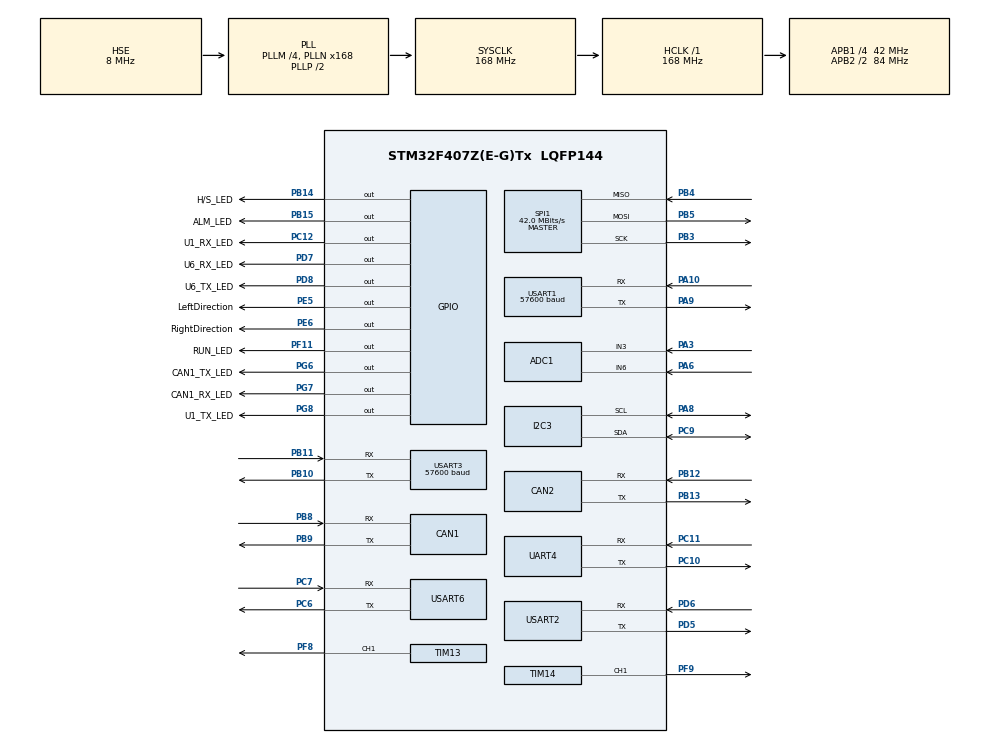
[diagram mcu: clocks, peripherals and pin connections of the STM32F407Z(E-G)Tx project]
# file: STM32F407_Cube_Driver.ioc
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ADC1.Channel-0\#ChannelRegularConversion=ADC_CHANNEL_3
ADC1.NbrOfConversionFlag=1
ADC1.Rank-0\#ChannelRegularConversion=1
ADC1.SamplingTime-0\#ChannelRegularConversion=ADC_SAMPLETIME_3CYCLES
ADC1.master=1
CAN1.BS1=CAN_BS1_1TQ
CAN1.BS2=CAN_BS2_1TQ
CAN1.CalculateTimeBit=1142
CAN1.CalculateTimeQuantum=380.95238095238096
CAN2.BS1=CAN_BS1_1TQ
CAN2.BS2=CAN_BS2_1TQ
CAN2.CalculateTimeBit=1142
CAN2.CalculateTimeQuantum=380.95238095238096
FREERTOS.Tasks01=defaultTask,0,128,StartDefaultTask,Default,NULL,Dynamic,NULL,NULL;WheelDriverTask,0,128,StartWheelDriverTask,Default,NULL,Dynamic,NULL,NULL;LED_Blink_Task,-3,128,StartLED_Blink_Task,Default,NULL,Dynamic,NULL,NULL;Commuicate_Task,0,128,StartCommuicate_Task,Default,NULL,Dynamic,NULL,NULL
Mcu.Family=STM32F4
Mcu.Name=STM32F407Z(E-G)Tx
Mcu.Package=LQFP144
NVIC.PriorityGroup=NVIC_PRIORITYGROUP_4
NVIC.USART1_IRQn=true\:5\:0\:false\:false\:true\:true
NVIC.USART3_IRQn=true\:5\:0\:false\:false\:true\:true
PA10.Mode=Multiprocessor_communication
PA10.Signal=USART1_RX
PA11.Signal=USB_OTG_FS_DM
PA12.Signal=USB_OTG_FS_DP
PA13.Signal=SYS_JTMS-SWDIO
PA14.Signal=SYS_JTCK-SWCLK
PA15.Signal=SPI1_NSS
PA3.Signal=ADCx_IN3
PA6.Signal=ADCx_IN6
PA8.Mode=SMBus-two-wire-Interface
PA8.Signal=I2C3_SCL
PA9.Mode=Multiprocessor_communication
PA9.Signal=USART1_TX
PB10.Mode=Multiprocessor_communication
PB10.Signal=USART3_TX
PB11.Mode=Multiprocessor_communication
PB11.Signal=USART3_RX
PB12.Mode=Slave
PB12.Signal=CAN2_RX
PB13.Mode=Slave
PB13.Signal=CAN2_TX
PB14.GPIO_Label=H/S_LED
PB14.PinState=GPIO_PIN_SET
PB14.Signal=GPIO_Output
PB15.GPIO_Label=ALM_LED
PB15.PinState=GPIO_PIN_SET
PB15.Signal=GPIO_Output
PB3.Mode=Full_Duplex_Master
PB3.Signal=SPI1_SCK
PB4.Mode=Full_Duplex_Master
PB4.Signal=SPI1_MISO
PB5.Mode=Full_Duplex_Master
PB5.Signal=SPI1_MOSI
PB8.Mode=Master
PB8.Signal=CAN1_RX
PB9.Mode=Master
PB9.Signal=CAN1_TX
PC10.Mode=Multiprocessor_communication
PC10.Signal=UART4_TX
PC11.Mode=Multiprocessor_communication
PC11.Signal=UART4_RX
PC12.GPIO_Label=U1_RX_LED
PC12.PinState=GPIO_PIN_SET
PC12.Signal=GPIO_Output
PC6.Mode=Multiprocessor_communication
PC6.Signal=USART6_TX
PC7.Mode=Multiprocessor_communication
PC7.Signal=USART6_RX
PC9.Mode=SMBus-two-wire-Interface
PC9.Signal=I2C3_SDA
PD5.Mode=Multiprocessor_communication
PD5.Signal=USART2_TX
PD6.Mode=Multiprocessor_communication
PD6.Signal=USART2_RX
PD7.GPIO_Label=U6_RX_LED
PD7.PinState=GPIO_PIN_SET
PD7.Signal=GPIO_Output
PD8.GPIO_Label=U6_TX_LED
PD8.PinState=GPIO_PIN_SET
PD8.Signal=GPIO_Output
PE5.GPIO_Label=LeftDirection
PE5.PinState=GPIO_PIN_SET
PE5.Signal=GPIO_Output
PE6.GPIO_Label=RightDirection
PE6.PinState=GPIO_PIN_SET
PE6.Signal=GPIO_Output
PF11.GPIO_Label=RUN_LED
PF11.PinState=GPIO_PIN_SET
PF11.Signal=GPIO_Output
PF8.Signal=S_TIM13_CH1
PF9.Signal=S_TIM14_CH1
PG6.GPIO_Label=CAN1_TX_LED
PG6.PinState=GPIO_PIN_SET
PG6.Signal=GPIO_Output
PG7.GPIO_Label=CAN1_RX_LED
PG7.PinState=GPIO_PIN_SET
PG7.Signal=GPIO_Output
PG8.GPIO_Label=U1_TX_LED
PG8.PinState=GPIO_PIN_SET
PG8.Signal=GPIO_Output
PH0-OSC_IN.Mode=HSE-External-Oscillator
PH0-OSC_IN.Signal=RCC_OSC_IN
PH1-OSC_OUT.Mode=HSE-External-Oscillator
PH1-OSC_OUT.Signal=RCC_OSC_OUT
ProjectManager.HeapSize=0x200
ProjectManager.StackSize=0x400
ProjectManager.TargetToolchain=MDK-ARM V5
RCC.48MHZClocksFreq_Value=84000000
RCC.AHBFreq_Value=168000000
RCC.APB1CLKDivider=RCC_HCLK_DIV4
RCC.APB1Freq_Value=42000000
RCC.APB1TimFreq_Value=84000000
RCC.APB2CLKDivider=RCC_HCLK_DIV2
RCC.APB2Freq_Value=84000000
RCC.APB2TimFreq_Value=168000000
RCC.CortexFreq_Value=168000000
RCC.HCLKFreq_Value=168000000
RCC.HSE_VALUE=8000000
RCC.HSI_VALUE=16000000
RCC.LSE_VALUE=32768
RCC.PLLM=4
RCC.PLLN=168
RCC.PLLSourceVirtual=RCC_PLLSOURCE_HSE
RCC.SYSCLKFreq_VALUE=168000000
RCC.SYSCLKSource=RCC_SYSCLKSOURCE_PLLCLK
RCC.VCOOutputFreq_Value=336000000
SH.ADCx_IN3.0=ADC1_IN3,IN3
SH.ADCx_IN6.0=ADC1_IN6,IN6
SH.S_TIM13_CH1.0=TIM13_CH1,PWM Generation1 CH1
SH.S_TIM14_CH1.0=TIM14_CH1,PWM Generation1 CH1
SPI1.BaudRatePrescaler=SPI_BAUDRATEPRESCALER_2
SPI1.CalculateBaudRate=42.0 MBits/s
SPI1.Direction=SPI_DIRECTION_2LINES
SPI1.Mode=SPI_MODE_MASTER
SPI1.VirtualType=VM_MASTER
TIM13.Channel=TIM_CHANNEL_1
TIM13.Period=20000
TIM13.Prescaler=83
TIM13.Pulse=10000
TIM14.Channel=TIM_CHANNEL_1
TIM14.Period=20000
TIM14.Prescaler=83
TIM14.Pulse=10000
UART4.VirtualMode=Asynchronous
USART1.BaudRate=57600
USART1.VirtualMode=VM_ASYNC
USART2.VirtualMode=VM_ASYNC
USART3.BaudRate=57600
USART3.VirtualMode=VM_ASYNC
USART6.VirtualMode=VM_ASYNC
VP_FREERTOS_VS_ENABLE.Mode=Enabled
VP_TIM13_VS_ClockSourceINT.Mode=Enable_Timer
VP_TIM14_VS_ClockSourceINT.Mode=Enable_Timer
board=STM32F407_Cube_Driver

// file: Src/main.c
/**
  ******************************************************************************
  * File Name          : main.c
  * Description        : Main program body
  ******************************************************************************
  *
  * Copyright (c) 2017 STMicroelectronics International N.V.
  * All rights reserved.
  *
  * Redistribution and use in source and binary forms, with or without
  * modification, are permitted, provided that the following conditions are met:
  *
  * 1. Redistribution of source code must retain the above copyright notice,
  *    this list of conditions and the following disclaimer.
  * 2. Redistributions in binary form must reproduce the above copyright notice,
  *    this list of conditions and the following disclaimer in the documentation
  *    and/or other materials provided with the distribution.
  * 3. Neither the name of STMicroelectronics nor the names of other
  *    contributors to this software may be used to endorse or promote products
  *    derived from this software without specific written permission.
  * 4. This software, including modifications and/or derivative works of this
  *    software, must execute solely and exclusively on microcontroller or
  *    microprocessor devices manufactured by or for STMicroelectronics.
  * 5. Redistribution and use of this software other than as permitted under
  *    this license is void and will automatically terminate your rights under
  *    this license.
  *
  * THIS SOFTWARE IS PROVIDED BY STMICROELECTRONICS AND CONTRIBUTORS "AS IS"
  * AND ANY EXPRESS, IMPLIED OR STATUTORY WARRANTIES, INCLUDING, BUT NOT
  * LIMITED TO, THE IMPLIED WARRANTIES OF MERCHANTABILITY, FITNESS FOR A
  * PARTICULAR PURPOSE AND NON-INFRINGEMENT OF THIRD PARTY INTELLECTUAL PROPERTY
  * RIGHTS ARE DISCLAIMED TO THE FULLEST EXTENT PERMITTED BY LAW. IN NO EVENT
  * SHALL STMICROELECTRONICS OR CONTRIBUTORS BE LIABLE FOR ANY DIRECT, INDIRECT,
  * INCIDENTAL, SPECIAL, EXEMPLARY, OR CONSEQUENTIAL DAMAGES (INCLUDING, BUT NOT
  * LIMITED TO, PROCUREMENT OF SUBSTITUTE GOODS OR SERVICES; LOSS OF USE, DATA,
  * OR PROFITS; OR BUSINESS INTERRUPTION) HOWEVER CAUSED AND ON ANY THEORY OF
  * LIABILITY, WHETHER IN CONTRACT, STRICT LIABILITY, OR TORT (INCLUDING
  * NEGLIGENCE OR OTHERWISE) ARISING IN ANY WAY OUT OF THE USE OF THIS SOFTWARE,
  * EVEN IF ADVISED OF THE POSSIBILITY OF SUCH DAMAGE.
  *
  ******************************************************************************
  */
#include "main.h"
#include "stm32f4xx_hal.h"
#include "cmsis_os.h"
#include "adc.h"
#include "can.h"
#include "i2c.h"
#include "spi.h"
#include "tim.h"
#include "usart.h"
#include "gpio.h"

/* USER CODE BEGIN PV */
/* Private variables ---------------------------------------------------------*/

/* USER CODE END PV */

void SystemClock_Config(void);
void Error_Handler(void);
void MX_FREERTOS_Init(void);

/* USER CODE BEGIN PFP */
/* Private function prototypes -----------------------------------------------*/

/* USER CODE END PFP */

int main(void)
{

  /* MCU Configuration----------------------------------------------------------*/

  /* Reset of all peripherals, Initializes the Flash interface and the Systick. */
  HAL_Init();

  /* Configure the system clock */
  SystemClock_Config();

  /* Initialize all configured peripherals */
  MX_GPIO_Init();
  MX_CAN1_Init();
  MX_CAN2_Init();
  MX_USART1_UART_Init();
  MX_USART3_UART_Init();
  MX_TIM13_Init();
  MX_TIM14_Init();
  MX_SPI1_Init();
  MX_USART2_UART_Init();
  MX_USART6_UART_Init();
  MX_UART4_Init();
  MX_I2C3_Init();
  MX_ADC1_Init();

  /* Call init function for freertos objects (in freertos.c) */
  MX_FREERTOS_Init();

  /* Start scheduler */
  osKernelStart();

  /* We should never get here as control is now taken by the scheduler */

  /* Infinite loop */
  while (1)
  {

  }

}

/** System Clock Configuration
*/
void SystemClock_Config(void)
{

  RCC_OscInitTypeDef RCC_OscInitStruct;
  RCC_ClkInitTypeDef RCC_ClkInitStruct;

    /**Configure the main internal regulator output voltage
    */
  __HAL_RCC_PWR_CLK_ENABLE();

  __HAL_PWR_VOLTAGESCALING_CONFIG(PWR_REGULATOR_VOLTAGE_SCALE1);

    /**Initializes the CPU, AHB and APB busses clocks
    */
  RCC_OscInitStruct.OscillatorType = RCC_OSCILLATORTYPE_HSE;
  RCC_OscInitStruct.HSEState = RCC_HSE_ON;
  RCC_OscInitStruct.PLL.PLLState = RCC_PLL_ON;
  RCC_OscInitStruct.PLL.PLLSource = RCC_PLLSOURCE_HSE;
  RCC_OscInitStruct.PLL.PLLM = 4;
  RCC_OscInitStruct.PLL.PLLN = 168;
  RCC_OscInitStruct.PLL.PLLP = RCC_PLLP_DIV2;
  RCC_OscInitStruct.PLL.PLLQ = 4;
  if (HAL_RCC_OscConfig(&RCC_OscInitStruct) != HAL_OK)
  {
    Error_Handler();
  }

    /**Initializes the CPU, AHB and APB busses clocks
    */
  RCC_ClkInitStruct.ClockType = RCC_CLOCKTYPE_HCLK|RCC_CLOCKTYPE_SYSCLK
                              |RCC_CLOCKTYPE_PCLK1|RCC_CLOCKTYPE_PCLK2;
  RCC_ClkInitStruct.SYSCLKSource = RCC_SYSCLKSOURCE_PLLCLK;
  RCC_ClkInitStruct.AHBCLKDivider = RCC_SYSCLK_DIV1;
  RCC_ClkInitStruct.APB1CLKDivider = RCC_HCLK_DIV4;
  RCC_ClkInitStruct.APB2CLKDivider = RCC_HCLK_DIV2;

  if (HAL_RCC_ClockConfig(&RCC_ClkInitStruct, FLASH_LATENCY_5) != HAL_OK)
  {
    Error_Handler();
  }

    /**Configure the Systick interrupt time
    */
  HAL_SYSTICK_Config(HAL_RCC_GetHCLKFreq()/1000);

    /**Configure the Systick
    */
  HAL_SYSTICK_CLKSourceConfig(SYSTICK_CLKSOURCE_HCLK);

  /* SysTick_IRQn interrupt configuration */
  HAL_NVIC_SetPriority(SysTick_IRQn, 15, 0);
}

void Error_Handler(void)
{
  while(1)
  {
  }
}

/************************ (C) COPYRIGHT STMicroelectronics *****END OF FILE****/

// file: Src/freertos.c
/**
  ******************************************************************************
  * File Name          : freertos.c
  * Description        : Code for freertos applications
  ******************************************************************************
  *
  * Copyright (c) 2017 STMicroelectronics International N.V.
  * All rights reserved.
  *
  * Redistribution and use in source and binary forms, with or without
  * modification, are permitted, provided that the following conditions are met:
  *
  * 1. Redistribution of source code must retain the above copyright notice,
  *    this list of conditions and the following disclaimer.
  * 2. Redistributions in binary form must reproduce the above copyright notice,
  *    this list of conditions and the following disclaimer in the documentation
  *    and/or other materials provided with the distribution.
  * 3. Neither the name of STMicroelectronics nor the names of other
  *    contributors to this software may be used to endorse or promote products
  *    derived from this software without specific written permission.
  * 4. This software, including modifications and/or derivative works of this
  *    software, must execute solely and exclusively on microcontroller or
  *    microprocessor devices manufactured by or for STMicroelectronics.
  * 5. Redistribution and use of this software other than as permitted under
  *    this license is void and will automatically terminate your rights under
  *    this license.
  *
  * THIS SOFTWARE IS PROVIDED BY STMICROELECTRONICS AND CONTRIBUTORS "AS IS"
  * AND ANY EXPRESS, IMPLIED OR STATUTORY WARRANTIES, INCLUDING, BUT NOT
  * LIMITED TO, THE IMPLIED WARRANTIES OF MERCHANTABILITY, FITNESS FOR A
  * PARTICULAR PURPOSE AND NON-INFRINGEMENT OF THIRD PARTY INTELLECTUAL PROPERTY
  * RIGHTS ARE DISCLAIMED TO THE FULLEST EXTENT PERMITTED BY LAW. IN NO EVENT
  * SHALL STMICROELECTRONICS OR CONTRIBUTORS BE LIABLE FOR ANY DIRECT, INDIRECT,
  * INCIDENTAL, SPECIAL, EXEMPLARY, OR CONSEQUENTIAL DAMAGES (INCLUDING, BUT NOT
  * LIMITED TO, PROCUREMENT OF SUBSTITUTE GOODS OR SERVICES; LOSS OF USE, DATA,
  * OR PROFITS; OR BUSINESS INTERRUPTION) HOWEVER CAUSED AND ON ANY THEORY OF
  * LIABILITY, WHETHER IN CONTRACT, STRICT LIABILITY, OR TORT (INCLUDING
  * NEGLIGENCE OR OTHERWISE) ARISING IN ANY WAY OUT OF THE USE OF THIS SOFTWARE,
  * EVEN IF ADVISED OF THE POSSIBILITY OF SUCH DAMAGE.
  *
  ******************************************************************************
  */

#include "FreeRTOS.h"
#include "task.h"
#include "cmsis_os.h"

/* USER CODE BEGIN Includes */
#include "gpio.h"
#include "tim.h"
#include "usart.h"
/* USER CODE END Includes */

osThreadId defaultTaskHandle;
osThreadId WheelDriverTaskHandle;
osThreadId LED_Blink_TaskHandle;
osThreadId Commuicate_TaskHandle;

void StartDefaultTask(void const * argument);
void StartWheelDriverTask(void const * argument);
void StartLED_Blink_Task(void const * argument);
void StartCommuicate_Task(void const * argument);

void MX_FREERTOS_Init(void); /* (MISRA C 2004 rule 8.1) */

/* USER CODE BEGIN FunctionPrototypes */
/*
Upload:

Download:
0xAA 0x55 1 2 3 4 0xFE
1:Left 	Direction 0x00-> +,0x01->-
2:Left 	Speed %
3:Right Direction	0x00-> +,0x01->-
4:Right Speed %
*/
/* USER CODE END FunctionPrototypes */

/* Hook prototypes */

/* Init FreeRTOS */

void MX_FREERTOS_Init(void) {

  /* Create the thread(s) */
  /* definition and creation of defaultTask */
  osThreadDef(defaultTask, StartDefaultTask, osPriorityNormal, 0, 128);
  defaultTaskHandle = osThreadCreate(osThread(defaultTask), NULL);

  /* definition and creation of WheelDriverTask */
  osThreadDef(WheelDriverTask, StartWheelDriverTask, osPriorityNormal, 0, 128);
  WheelDriverTaskHandle = osThreadCreate(osThread(WheelDriverTask), NULL);

  /* definition and creation of LED_Blink_Task */
  osThreadDef(LED_Blink_Task, StartLED_Blink_Task, osPriorityIdle, 0, 128);
  LED_Blink_TaskHandle = osThreadCreate(osThread(LED_Blink_Task), NULL);

  /* definition and creation of Commuicate_Task */
  osThreadDef(Commuicate_Task, StartCommuicate_Task, osPriorityNormal, 0, 128);
  Commuicate_TaskHandle = osThreadCreate(osThread(Commuicate_Task), NULL);

}

/* StartDefaultTask function */
void StartDefaultTask(void const * argument)
{

  /* USER CODE BEGIN StartDefaultTask */
  /* Infinite loop */
  for(;;)
  {
		RUN_LED_Blink();
    osDelay(500);
  }
  /* USER CODE END StartDefaultTask */
}

/* StartWheelDriverTask function */
void StartWheelDriverTask(void const * argument)
{
  /* USER CODE BEGIN StartWheelDriverTask */
  /* Infinite loop */
  for(;;)
  {
		if(RxFinishFlag)
		{
			if(UART3RxBuff[2])
			{
				HAL_GPIO_WritePin(GPIOE, LeftDirection_Pin, GPIO_PIN_SET);
			}
			else
			{
				HAL_GPIO_WritePin(GPIOE, LeftDirection_Pin, GPIO_PIN_RESET);
			}
			if(UART3RxBuff[4])
			{
				HAL_GPIO_WritePin(GPIOE, RightDirection_Pin, GPIO_PIN_SET);
			}
			else
			{
				HAL_GPIO_WritePin(GPIOE, RightDirection_Pin, GPIO_PIN_RESET);
			}

			SetLeftWheelSpeed(UART3RxBuff[3]);

			SetRightWheelSpeed(UART3RxBuff[5]);
		}
		else
		{
			SetLeftWheelSpeed(0);
			SetRightWheelSpeed(0);
		}
    osDelay(10);
  }
  /* USER CODE END StartWheelDriverTask */
}

/* StartLED_Blink_Task function */
void StartLED_Blink_Task(void const * argument)
{
  /* USER CODE BEGIN StartLED_Blink_Task */
  /* Infinite loop */
  for(;;)
  {
    osDelay(10);
  }
  /* USER CODE END StartLED_Blink_Task */
}

/* StartCommuicate_Task function */
void StartCommuicate_Task(void const * argument)
{
  /* USER CODE BEGIN StartCommuicate_Task */
  /* Infinite loop */
  for(;;)
  {
		//printf("usart is ok\r\n");
    osDelay(1);
  }
  /* USER CODE END StartCommuicate_Task */
}

/************************ (C) COPYRIGHT STMicroelectronics *****END OF FILE****/
